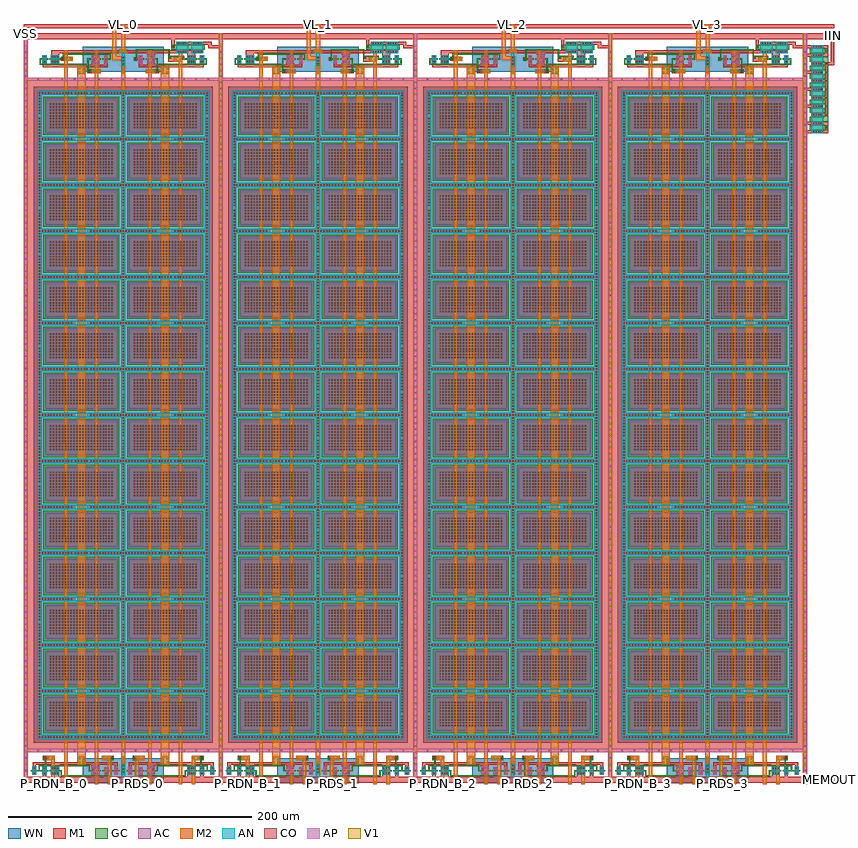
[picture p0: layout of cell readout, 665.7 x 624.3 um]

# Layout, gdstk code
from math import pi, radians
import gdstk
lib = gdstk.Library(unit=1e-6, precision=1e-07)
def R(c, l, rs):  # rectangles x0, y0, x1, y1
    for r in rs: c.add(gdstk.rectangle(r[:2], r[2:], *l))
def A(c, l, x, y, w, h, nx, ny, dx, dy):  # array of equal rectangles
    R(c, l, [(x+i*dx, y+j*dy, x+i*dx+w, y+j*dy+h) for i in range(nx) for j in range(ny)])
def P(c, l, *ps):  # polygons
    for p in ps: c.add(gdstk.Polygon(p, *l))
AP = (3, 1)
AN = (3, 2)
AC = (3, 4)
GC = (8, 1)
CO = (11, 0)
M1 = (13, 0)
V1 = (19, 0)
M2 = (20, 0)
WN = (140, 0)

cont_p = lib.new_cell('cont_p')
R(cont_p, AP, [(-1.3,-1.3,1.3,1.3)])
R(cont_p, CO, [(-0.5,-0.5,0.5,0.5)])
R(cont_p, M1, [(-1.3,-1.3,1.3,1.3)])

moscap_1 = lib.new_cell('moscap$1')
P(moscap_1, AN, [(-36.2,-20.7),(-36.2,17.1),(-32.6,17.1),(-32.6,-17.1),(32.6,-17.1),(32.6,17.1),(-36.2,17.1),(-36.2,20.7),(36.2,20.7),(36.2,-20.7)])
R(moscap_1, AC, [(-29.8,-14.3,29.8,14.3)])
R(moscap_1, GC, [(-31.2,-15.7,31.2,15.7)])
A(moscap_1, CO, -35, -19.5, 1.2, 1.2, 1, 8, 0, 2.4)
A(moscap_1, CO, -35, -19.5, 1.2, 1.2, 12, 2, 2.4, 37.8)
A(moscap_1, CO, 7.4, -19.5, 1.2, 1.2, 12, 2, 2.4, 37.8)
A(moscap_1, CO, 33.8, -19.5, 1.2, 1.2, 1, 8, 0, 2.4)
A(moscap_1, CO, -25.8, -10.2, 1.2, 1.2, 22, 9, 2.4, 2.4)
A(moscap_1, CO, -35, 1.5, 1.2, 1.2, 1, 8, 0, 2.4)
A(moscap_1, CO, 33.8, 1.5, 1.2, 1.2, 1, 8, 0, 2.4)
R(moscap_1, M1, [(-29.3,-13.3,29.3,13.3)])
P(moscap_1, M1, [(-36.2,-20.7),(-36.2,20.7),(-5,20.7),(-5,17.1),(-32.6,17.1),(-32.6,-17.1),(-5,-17.1),(-5,-20.7)],
  [(5,-20.7),(5,-17.1),(32.6,-17.1),(32.6,17.1),(5,17.1),(5,20.7),(36.2,20.7),(36.2,-20.7)])
R(moscap_1, WN, [(-39.2,-23.7,39.2,23.7)])

fet_n_1 = lib.new_cell('fet_n$1')
R(fet_n_1, AN, [(-3.3,-3.4,3.3,3.4)])
A(fet_n_1, CO, -2.5, -2.5, 1, 1, 1, 3, 0, 2)
A(fet_n_1, CO, 1.5, -2.5, 1, 1, 1, 3, 0, 2)
R(fet_n_1, M1, [(-3.3,-3.3,-0.7,3.3), (0.7,-3.3,3.3,3.3)])
fet_n_1.add(gdstk.FlexPath([(0,-4.6),(0,4.6)], 1, ends="flush", simple_path=True, layer=8, datatype=1))  # GC

fet_p = lib.new_cell('fet_p')
R(fet_p, AP, [(-3.3,-1.7,3.3,1.7)])
R(fet_p, CO, [(-2.5,-0.5,-1.5,0.5), (1.5,-0.5,2.5,0.5)])
R(fet_p, M1, [(-3.3,-1.3,-0.7,1.3), (0.7,-1.3,3.3,1.3)])
fet_p.add(gdstk.FlexPath([(0,-2.9),(0,2.9)], 1, ends="flush", simple_path=True, layer=8, datatype=1))  # GC

cont_n = lib.new_cell('cont_n')
R(cont_n, AN, [(-1.3,-1.3,1.3,1.3)])
R(cont_n, CO, [(-0.5,-0.5,0.5,0.5)])
R(cont_n, M1, [(-1.3,-1.3,1.3,1.3)])

fet_n = lib.new_cell('fet_n')
R(fet_n, AN, [(-3.3,-1.7,3.3,1.7)])
R(fet_n, CO, [(-2.5,-0.5,-1.5,0.5), (1.5,-0.5,2.5,0.5)])
R(fet_n, M1, [(-3.3,-1.3,-0.7,1.3), (0.7,-1.3,3.3,1.3)])
fet_n.add(gdstk.FlexPath([(0,-2.9),(0,2.9)], 1, ends="flush", simple_path=True, layer=8, datatype=1))  # GC

fet_p_1 = lib.new_cell('fet_p$1')
R(fet_p_1, AP, [(-3.3,-3.4,3.3,3.4)])
A(fet_p_1, CO, -2.5, -2.5, 1, 1, 1, 3, 0, 2)
A(fet_p_1, CO, 1.5, -2.5, 1, 1, 1, 3, 0, 2)
R(fet_p_1, M1, [(-3.3,-3.3,-0.7,3.3), (0.7,-3.3,3.3,3.3)])
fet_p_1.add(gdstk.FlexPath([(0,-4.6),(0,4.6)], 1, ends="flush", simple_path=True, layer=8, datatype=1))  # GC

cont_g = lib.new_cell('cont_g')
R(cont_g, GC, [(-1.3,-1.3,1.3,1.3)])
R(cont_g, CO, [(-0.5,-0.5,0.5,0.5)])
R(cont_g, M1, [(-1.3,-1.3,1.3,1.3)])

via_1 = lib.new_cell('via_1')
R(via_1, M1, [(-1.7,-1.7,1.7,1.7)])
R(via_1, V1, [(-0.7,-0.7,0.7,0.7)])
R(via_1, M2, [(-1.7,-1.7,1.7,1.7)])

fet_n_3 = lib.new_cell('fet_n$3')
R(fet_n_3, AN, [(-4.8,-5,4.8,5)])
A(fet_n_3, CO, -4, -3.5, 1, 1, 1, 4, 0, 2)
A(fet_n_3, CO, 3, -3.5, 1, 1, 1, 4, 0, 2)
R(fet_n_3, M1, [(-4.8,-4.3,-2.2,4.3), (2.2,-4.3,4.8,4.3)])
fet_n_3.add(gdstk.FlexPath([(0,-6.2),(0,6.2)], 4, ends="flush", simple_path=True, layer=8, datatype=1))  # GC

diode_n = lib.new_cell('diode_n')
R(diode_n, AN, [(-1.8,-1.8,1.8,1.8)])
R(diode_n, CO, [(-0.6,-0.6,0.6,0.6)])
R(diode_n, M1, [(-1.8,-1.8,1.8,1.8)])

readout_unit = lib.new_cell('readout_unit')
R(readout_unit, AP, [(-81.3,-616.9,-78.7,0), (78.7,-616.9,81.3,0), (-78.7,-590.7,78.7,-588.1), (-78.7,-39.3,78.7,-36.7)])
R(readout_unit, AN, [(-1.3,-611.3,1.3,-600.7), (-1.3,-26.7,1.3,-16.1)])
R(readout_unit, GC, [(39.6,-13.8,42.2,-9.8)])
P(readout_unit, GC, [(-29.5,-29.7),(-29.5,-26.1),(-68.6,-26.1),(-68.6,-20.9),(-67.6,-20.9),(-67.6,-25.1),(-29.5,-25.1),(-29.5,-20.9),(-27.5,-20.9),(-27.5,-21.9),(-28.5,-21.9),(-28.5,-29.7)],
  [(27.5,-29.7),(27.5,-20.9),(28.5,-20.9),(28.5,-25.2),(67.6,-25.2),(67.6,-20.9),(68.6,-20.9),(68.6,-26.2),(28.5,-26.2),(28.5,-29.7)],
  [(9.5,-610.7),(9.5,-606.5),(8.7,-606.5),(8.7,-605.5),(9.5,-605.5),(9.5,-597.2),(10.5,-597.2),(10.5,-605.5),(11.3,-605.5),(11.3,-606.5),(10.5,-606.5),(10.5,-609.7),(50.4,-609.7),(50.4,-605.5),(51.4,-605.5),(51.4,-610.7)],
  [(27.5,-606.5),(27.5,-601.3),(63.4,-601.3),(63.4,-597.2),(64.4,-597.2),(64.4,-601.3),(69.4,-601.3),(69.4,-605.5),(70.2,-605.5),(70.2,-606.5),(67.6,-606.5),(67.6,-605.5),(68.4,-605.5),(68.4,-602.3),(28.5,-602.3),(28.5,-606.5)],
  [(-51.4,-610.7),(-51.4,-605.5),(-50.4,-605.5),(-50.4,-609.7),(-10.5,-609.7),(-10.5,-606.5),(-11.3,-606.5),(-11.3,-605.5),(-10.5,-605.5),(-10.5,-597.2),(-9.5,-597.2),(-9.5,-605.5),(-8.7,-605.5),(-8.7,-606.5),(-9.5,-606.5),(-9.5,-610.7)],
  [(-70.2,-606.5),(-70.2,-605.5),(-69.4,-605.5),(-69.4,-601.3),(-64.4,-601.3),(-64.4,-597.2),(-63.4,-597.2),(-63.4,-601.3),(-27.5,-601.3),(-27.5,-606.5),(-28.5,-606.5),(-28.5,-602.3),(-68.4,-602.3),(-68.4,-605.5),(-67.6,-605.5),(-67.6,-606.5)],
  [(-51.4,-21.9),(-51.4,-20.9),(-49.6,-20.9),(-49.6,-16.7),(-10.3,-16.7),(-10.3,-21.9),(-11.3,-21.9),(-11.3,-17.7),(-48.6,-17.7),(-48.6,-21.9)],
  [(10.3,-21.9),(10.3,-13.3),(38,-13.3),(38,-18.5),(50,-18.5),(50,-20.9),(51.4,-20.9),(51.4,-21.9),(49,-21.9),(49,-19.5),(37,-19.5),(37,-14.3),(11.3,-14.3),(11.3,-21.9)])
A(readout_unit, M1, -37.8, -546.1, 6.8, 11.2, 1, 7, 0, 75.6)
A(readout_unit, M1, 31, -546.1, 6.8, 11.2, 1, 7, 0, 75.6)
R(readout_unit, M1, [(-1.8,-609.3,1.8,-593.9), (-81.7,-606.9,-78.3,-9.9), (78.3,-606.9,81.7,-9.9), (-66,-597.2,-63,-593.8), (-11,-597.2,-7.9,-593.8), (7.9,-597.2,11,-593.8), (63,-597.2,66,-593.8), (-78.3,-590.7,78.3,-576.5), (-78.3,-580.1,-70.6,-47.3), (70.6,-580.1,78.3,-47.3), (-78.3,-50.9,78.3,-36.7), (-1.8,-33.5,1.8,-18.9), (-29.5,-33.1,-25.3,-29.7), (25.3,-33.1,29.5,-29.7), (37,-23.5,48.4,-18.5), (-51.2,-22.7,-48.2,-19.3)])
P(readout_unit, M1, [(-81.7,-615.8),(-81.7,-610.8),(-66,-610.8),(-66,-605.3),(-63.4,-605.3),(-63.4,-610.8),(-59.3,-610.8),(-59.3,-609.3),(-52.7,-609.3),(-52.7,-610.8),(-26.2,-610.8),(-26.2,-609.3),(-19.6,-609.3),(-19.6,-610.8),(-15.5,-610.8),(-15.5,-605.3),(-12.9,-605.3),(-12.9,-610.8),(12.9,-610.8),(12.9,-605.3),(15.5,-605.3),(15.5,-610.8),(19.6,-610.8),(19.6,-609.3),(26.2,-609.3),(26.2,-610.8),(52.7,-610.8),(52.7,-609.3),(59.3,-609.3),(59.3,-610.8),(63.4,-610.8),(63.4,-605.3),(66,-605.3),(66,-610.8),(81.7,-610.8),(81.7,-615.8)],
  [(-74.4,-606.7),(-74.4,-599.2),(-4.5,-599.2),(-4.5,-606.7),(-7.1,-606.7),(-7.1,-601.2),(-19.6,-601.2),(-19.6,-602.7),(-26.2,-602.7),(-26.2,-601.2),(-52.7,-601.2),(-52.7,-602.7),(-59.3,-602.7),(-59.3,-601.2),(-71.8,-601.2),(-71.8,-606.7)],
  [(4.5,-606.7),(4.5,-599.2),(74.4,-599.2),(74.4,-606.7),(71.8,-606.7),(71.8,-601.2),(59.3,-601.2),(59.3,-602.7),(52.7,-602.7),(52.7,-601.2),(26.2,-601.2),(26.2,-602.7),(19.6,-602.7),(19.6,-601.2),(7.1,-601.2),(7.1,-606.7)],
  [(69.9,-12.5),(69.9,-9.6),(52.7,-9.6),(52.7,-7),(72.5,-7),(72.5,-9.9),(78.3,-9.9),(78.3,-12.5)],
  [(-66,-28.2),(-66,-20.7),(-63.4,-20.7),(-63.4,-26.2),(-59.3,-26.2),(-59.3,-24.7),(-52.7,-24.7),(-52.7,-26.2),(-26.2,-26.2),(-26.2,-24.7),(-19.6,-24.7),(-19.6,-26.2),(-15.5,-26.2),(-15.5,-20.7),(-12.9,-20.7),(-12.9,-28.2)],
  [(12.9,-28.2),(12.9,-20.7),(15.5,-20.7),(15.5,-26.2),(19.6,-26.2),(19.6,-24.7),(26.2,-24.7),(26.2,-26.2),(52.7,-26.2),(52.7,-24.7),(59.3,-24.7),(59.3,-26.2),(63.4,-26.2),(63.4,-20.7),(66,-20.7),(66,-28.2)],
  [(-59.3,-18.1),(-59.3,-14),(59.3,-14),(59.3,-18.1),(52.7,-18.1),(52.7,-16.6),(26.2,-16.6),(26.2,-18.1),(19.6,-18.1),(19.6,-16.6),(-19.6,-16.6),(-19.6,-18.1),(-26.2,-18.1),(-26.2,-16.6),(-52.7,-16.6),(-52.7,-18.1)],
  [(39.6,-9.8),(39.6,-5),(-81.7,-5),(-81.7,0),(81.7,0),(81.7,-5),(42.2,-5),(42.2,-9.8)])
R(readout_unit, M2, [(-81.7,-616.9,-78.3,0), (-59.2,-616.9,-56.2,-597.2), (-48.4,-616.9,-45.4,-14), (-23.4,-616.9,-20.4,-14), (-12.6,-616.9,-9.6,-593.8), (9.6,-616.9,12.6,-593.8), (20.4,-616.9,23.4,-14), (45.4,-616.9,48.4,-14), (56.2,-616.9,59.2,-593.8), (78.3,-616.9,81.7,0), (-1.8,-609.3,1.8,-18.9), (-37.8,-599.2,-31,-28.2), (31,-599.2,37.8,-28.2), (-1.7,-16.6,1.7,0)])
R(readout_unit, WN, [(-33.4,-616.3,33.4,-595.7), (-33.4,-31.7,33.4,-11.1)])
r = gdstk.Reference(cont_p, (-80,-605.6)); r.repetition = gdstk.Repetition(1, 60, v1=(0,0), v2=(0,10)); readout_unit.add(r)
r = gdstk.Reference(cont_p, (80,-605.6)); r.repetition = gdstk.Repetition(1, 60, v1=(0,0), v2=(0,10)); readout_unit.add(r)
r = gdstk.Reference(moscap_1, (-34.4,-559.4)); r.repetition = gdstk.Repetition(2, 14, v1=(68.8,0), v2=(0,37.8)); readout_unit.add(r)
readout_unit.add(gdstk.Reference(fet_n_1, (-56,-606), rotation=3*pi/2))
readout_unit.add(gdstk.Reference(fet_p, (-5.8,-606), rotation=3*pi/2))
r = gdstk.Reference(cont_n, (0,-607.2)); r.repetition = gdstk.Repetition(1, 3, v1=(0,0), v2=(0,2.6)); readout_unit.add(r)
readout_unit.add(gdstk.Reference(fet_n, (-73.1,-606), rotation=3*pi/2))
readout_unit.add(gdstk.Reference(fet_p_1, (-22.9,-606), rotation=3*pi/2))
readout_unit.add(gdstk.Reference(fet_n, (-64.7,-606), rotation=3*pi/2))
readout_unit.add(gdstk.Reference(fet_p, (-14.2,-606), rotation=3*pi/2))
readout_unit.add(gdstk.Reference(fet_p, (5.8,-606), rotation=3*pi/2))
readout_unit.add(gdstk.Reference(fet_p, (14.2,-606), rotation=3*pi/2))
readout_unit.add(gdstk.Reference(fet_p_1, (22.9,-606), rotation=3*pi/2))
readout_unit.add(gdstk.Reference(fet_n_1, (56,-606), rotation=3*pi/2))
readout_unit.add(gdstk.Reference(fet_n, (64.7,-606), rotation=3*pi/2))
readout_unit.add(gdstk.Reference(fet_n, (73.1,-606), rotation=3*pi/2))
readout_unit.add(gdstk.Reference(cont_g, (9.2,-595.9)))
readout_unit.add(gdstk.Reference(cont_g, (64.7,-595.9)))
r = gdstk.Reference(via_1, (57.9,-595.5)); r.repetition = gdstk.Repetition(2, 1, v1=(3.4,0), v2=(0,0)); readout_unit.add(r)
readout_unit.add(gdstk.Reference(fet_n_3, (48.4,-11.8), rotation=3*pi/2))
readout_unit.add(gdstk.Reference(fet_n_3, (60.8,-11.8), rotation=3*pi/2))
readout_unit.add(gdstk.Reference(fet_n_1, (-56,-21.4), rotation=3*pi/2))
readout_unit.add(gdstk.Reference(cont_g, (40.9,-11.1)))
r = gdstk.Reference(cont_n, (0,-25.4)); r.repetition = gdstk.Repetition(1, 3, v1=(0,0), v2=(0,2.6)); readout_unit.add(r)
r = gdstk.Reference(via_1, (-46.5,-21)); r.repetition = gdstk.Repetition(2, 1, v1=(3.4,0), v2=(0,0)); readout_unit.add(r)
readout_unit.add(gdstk.Reference(fet_p_1, (-22.9,-21.4), rotation=3*pi/2))
readout_unit.add(gdstk.Reference(fet_n, (-64.7,-21.4), rotation=3*pi/2))
readout_unit.add(gdstk.Reference(fet_p, (-14.2,-21.4), rotation=3*pi/2))
readout_unit.add(gdstk.Reference(cont_g, (-28.2,-31)))
r = gdstk.Reference(via_1, (12.7,-595.5)); r.repetition = gdstk.Repetition(2, 1, v1=(3.4,0), v2=(0,0)); readout_unit.add(r)
readout_unit.add(gdstk.Reference(fet_p, (14.2,-21.4), rotation=3*pi/2))
r = gdstk.Reference(via_1, (20.2,-31.4)); r.repetition = gdstk.Repetition(2, 1, v1=(3.4,0), v2=(0,0)); readout_unit.add(r)
readout_unit.add(gdstk.Reference(fet_p_1, (22.9,-21.4), rotation=3*pi/2))
readout_unit.add(gdstk.Reference(fet_n_1, (56,-21.4), rotation=3*pi/2))
readout_unit.add(gdstk.Reference(fet_n, (64.7,-21.4), rotation=3*pi/2))
readout_unit.add(gdstk.Reference(cont_g, (10,-21.4)))
readout_unit.add(gdstk.Reference(cont_g, (38.3,-19.8)))
readout_unit.add(gdstk.Reference(cont_g, (28.2,-31)))
r = gdstk.Reference(via_1, (43.3,-21.8)); r.repetition = gdstk.Repetition(2, 1, v1=(3.4,0), v2=(0,0)); readout_unit.add(r)
r = gdstk.Reference(via_1, (-61.3,-595.5)); r.repetition = gdstk.Repetition(2, 1, v1=(3.4,0), v2=(0,0)); readout_unit.add(r)
r = gdstk.Reference(via_1, (-16.1,-595.5)); r.repetition = gdstk.Repetition(2, 1, v1=(3.4,0), v2=(0,0)); readout_unit.add(r)
readout_unit.add(gdstk.Reference(cont_g, (-9.2,-595.9)))
readout_unit.add(gdstk.Reference(cont_g, (-64.7,-595.9)))
r = gdstk.Reference(via_1, (-23.6,-31.4)); r.repetition = gdstk.Repetition(2, 1, v1=(3.4,0), v2=(0,0)); readout_unit.add(r)
readout_unit.add(gdstk.Reference(cont_g, (-49.9,-20.6)))
r = gdstk.Reference(via_1, (0,-31.8)); r.repetition = gdstk.Repetition(1, 2, v1=(0,0), v2=(0,3.4)); readout_unit.add(r)
r = gdstk.Reference(via_1, (-1.7,-14.9)); r.repetition = gdstk.Repetition(2, 1, v1=(3.4,0), v2=(0,0)); readout_unit.add(r)
r = gdstk.Reference(cont_p, (-70,-589.4)); r.repetition = gdstk.Repetition(15, 1, v1=(10,0), v2=(0,0)); readout_unit.add(r)
r = gdstk.Reference(cont_p, (-70,-38)); r.repetition = gdstk.Repetition(15, 1, v1=(10,0), v2=(0,0)); readout_unit.add(r)
r = gdstk.Reference(diode_n, (-39.2,-578.3)); r.repetition = gdstk.Repetition(5, 8, v1=(2.4,0), v2=(0,75.6)); readout_unit.add(r)
r = gdstk.Reference(via_1, (0,-599)); r.repetition = gdstk.Repetition(1, 2, v1=(0,0), v2=(0,3.4)); readout_unit.add(r)
r = gdstk.Reference(diode_n, (29.6,-578.3)); r.repetition = gdstk.Repetition(5, 8, v1=(2.4,0), v2=(0,75.6)); readout_unit.add(r)
r = gdstk.Reference(via_1, (-80,-600.6)); r.repetition = gdstk.Repetition(2, 59, v1=(160,0), v2=(0,10)); readout_unit.add(r)
r = gdstk.Reference(via_1, (-36.1,-540.5)); r.repetition = gdstk.Repetition(2, 7, v1=(3.4,0), v2=(0,75.6)); readout_unit.add(r)
r = gdstk.Reference(via_1, (-36.1,-599.3)); r.repetition = gdstk.Repetition(2, 2, v1=(3.4,0), v2=(0,3.4)); readout_unit.add(r)
r = gdstk.Reference(via_1, (32.7,-540.5)); r.repetition = gdstk.Repetition(2, 7, v1=(3.4,0), v2=(0,75.6)); readout_unit.add(r)
r = gdstk.Reference(via_1, (32.7,-599.3)); r.repetition = gdstk.Repetition(2, 2, v1=(3.4,0), v2=(0,3.4)); readout_unit.add(r)
r = gdstk.Reference(via_1, (-36.1,-32.3)); r.repetition = gdstk.Repetition(2, 2, v1=(3.4,0), v2=(0,3.4)); readout_unit.add(r)
r = gdstk.Reference(via_1, (32.7,-32.3)); r.repetition = gdstk.Repetition(2, 2, v1=(3.4,0), v2=(0,3.4)); readout_unit.add(r)
readout_unit.add(gdstk.Label('P_WRTN', (-46.9,-616.5), layer=49, texttype=0))
readout_unit.add(gdstk.Label('P_WRTN_B', (-21.9,-616.5), layer=49, texttype=0))
readout_unit.add(gdstk.Label('P_WRTS', (46.9,-616.5), layer=49, texttype=0))
readout_unit.add(gdstk.Label('P_WRTS_B', (21.9,-616.5), layer=49, texttype=0))
readout_unit.add(gdstk.Label('P_RDN_B', (-57.7,-616.5), layer=49, texttype=0))
readout_unit.add(gdstk.Label('P_RDN', (-11.1,-616.5), layer=49, texttype=0))
readout_unit.add(gdstk.Label('P_RDS', (11.1,-616.5), layer=49, texttype=0))
readout_unit.add(gdstk.Label('P_RDS_B', (57.7,-616.5), layer=49, texttype=0))
readout_unit.add(gdstk.Label('VSS', (-80,-616.4), layer=49, texttype=0))
readout_unit.add(gdstk.Label('VDD', (0,-608.9), layer=49, texttype=0))
readout_unit.add(gdstk.Label('VL', (0,-0.5), layer=49, texttype=0))
readout_unit.add(gdstk.Label('MEMOUT', (81.3,-613.4), layer=48, texttype=0))
readout_unit.add(gdstk.Label('VBIAS', (81.3,-2.6), layer=48, texttype=0))

fet_n_2 = lib.new_cell('fet_n$2')
R(fet_n_2, AN, [(-36.3,-5,36.3,5)])
A(fet_n_2, CO, -35.5, -3.5, 1, 1, 11, 4, 7, 2)
A(fet_n_2, M1, -36.3, -4.3, 2.6, 8.6, 11, 1, 7, 0)
fet_n_2.add(gdstk.FlexPath([(3.5,-6.2),(3.5,6.2)], 4, ends="flush", simple_path=True, layer=8, datatype=1))  # GC
fet_n_2.add(gdstk.FlexPath([(-3.5,-6.2),(-3.5,6.2)], 4, ends="flush", simple_path=True, layer=8, datatype=1))  # GC
fet_n_2.add(gdstk.FlexPath([(10.5,-6.2),(10.5,6.2)], 4, ends="flush", simple_path=True, layer=8, datatype=1))  # GC
fet_n_2.add(gdstk.FlexPath([(-10.5,-6.2),(-10.5,6.2)], 4, ends="flush", simple_path=True, layer=8, datatype=1))  # GC
fet_n_2.add(gdstk.FlexPath([(17.5,-6.2),(17.5,6.2)], 4, ends="flush", simple_path=True, layer=8, datatype=1))  # GC
fet_n_2.add(gdstk.FlexPath([(-17.5,-6.2),(-17.5,6.2)], 4, ends="flush", simple_path=True, layer=8, datatype=1))  # GC
fet_n_2.add(gdstk.FlexPath([(24.5,-6.2),(24.5,6.2)], 4, ends="flush", simple_path=True, layer=8, datatype=1))  # GC
fet_n_2.add(gdstk.FlexPath([(-24.5,-6.2),(-24.5,6.2)], 4, ends="flush", simple_path=True, layer=8, datatype=1))  # GC
fet_n_2.add(gdstk.FlexPath([(31.5,-6.2),(31.5,6.2)], 4, ends="flush", simple_path=True, layer=8, datatype=1))  # GC
fet_n_2.add(gdstk.FlexPath([(-31.5,-6.2),(-31.5,6.2)], 4, ends="flush", simple_path=True, layer=8, datatype=1))  # GC

cont_g_1 = lib.new_cell('cont_g$1')
R(cont_g_1, GC, [(-1.3,-1.3,1.3,1.3)])
R(cont_g_1, CO, [(-0.5,-0.5,0.5,0.5)])
R(cont_g_1, M1, [(-1.3,-1.3,1.3,1.3)])

via_1_1 = lib.new_cell('via_1$1')
R(via_1_1, M1, [(-1.7,-1.7,1.7,1.7)])
R(via_1_1, V1, [(-0.7,-0.7,0.7,0.7)])
R(via_1_1, M2, [(-1.7,-1.7,1.7,1.7)])

readout = lib.new_cell('readout')
R(readout, GC, [(336.4,-79.7,339,-75.7), (336.4,-72.7,339,-19.7), (336.4,-16.7,339,-12.7)])
A(readout, M1, 321.7, -61.5, 4.2, 2.6, 1, 3, 0, 14)
R(readout, M1, [(321.7,-615.8,344,-610.8), (-321.7,4,344,7.4)])
P(readout, M1, [(334.5,-68.5),(334.5,-65.9),(336.4,-65.9),(336.4,-54.5),(334.5,-54.5),(334.5,-51.9),(336.4,-51.9),(336.4,-40.5),(334.5,-40.5),(334.5,-37.9),(336.4,-37.9),(336.4,-26.5),(334.5,-26.5),(334.5,-23.9),(341,-23.9),(341,-5),(321.7,-5),(321.7,0),(344,0),(344,-26.5),(339,-26.5),(339,-68.5)],
  [(321.7,-82.5),(321.7,-79.9),(336.4,-79.9),(336.4,-75.5),(321.7,-75.5),(321.7,-72.9),(339,-72.9),(339,-82.5)],
  [(321.7,-19.5),(321.7,-16.9),(336.4,-16.9),(336.4,-12.5),(321.7,-12.5),(321.7,-9.9),(339,-9.9),(339,-19.5)])
A(readout, M2, -241.7, 0, 3.4, 7.4, 4, 1, 160, 0)
P(readout, M2, [(-249.2,-22.3),(-249.2,7.4),(-245.8,7.4),(-245.8,-18.9),(-241.8,-18.9),(-241.8,-22.3)],
  [(-89.2,-22.3),(-89.2,7.4),(-85.8,7.4),(-85.8,-18.9),(-81.8,-18.9),(-81.8,-22.3)],
  [(70.8,-22.3),(70.8,7.4),(74.2,7.4),(74.2,-18.9),(78.2,-18.9),(78.2,-22.3)],
  [(230.8,-22.3),(230.8,7.4),(234.2,7.4),(234.2,-18.9),(238.2,-18.9),(238.2,-22.3)])
r = gdstk.Reference(readout_unit, (-240,0)); r.repetition = gdstk.Repetition(4, 1, v1=(160,0), v2=(0,0)); readout.add(r)
readout.add(gdstk.Reference(fet_n_2, (330.2,-46.2), rotation=pi/2))
r = gdstk.Reference(cont_g_1, (337.7,-67.2)); r.repetition = gdstk.Repetition(1, 7, v1=(0,0), v2=(0,7)); readout.add(r)
readout.add(gdstk.Reference(cont_g_1, (337.7,-77.7)))
readout.add(gdstk.Reference(cont_g_1, (337.7,-14.7)))
r = gdstk.Reference(via_1_1, (-250.9,5.7)); r.repetition = gdstk.Repetition(2, 1, v1=(3.4,0), v2=(0,0)); readout.add(r)
r = gdstk.Reference(via_1_1, (-90.9,5.7)); r.repetition = gdstk.Repetition(2, 1, v1=(3.4,0), v2=(0,0)); readout.add(r)
r = gdstk.Reference(via_1_1, (69.1,5.7)); r.repetition = gdstk.Repetition(2, 1, v1=(3.4,0), v2=(0,0)); readout.add(r)
r = gdstk.Reference(via_1_1, (229.1,5.7)); r.repetition = gdstk.Repetition(2, 1, v1=(3.4,0), v2=(0,0)); readout.add(r)
readout.add(gdstk.Label('P_RDN_B_0', (-296.8,-616.5), layer=49, texttype=0))
readout.add(gdstk.Label('P_WRTN_0', (-286,-616.5), layer=49, texttype=0))
readout.add(gdstk.Label('P_WRTN_B_0', (-261,-616.5), layer=49, texttype=0))
readout.add(gdstk.Label('P_RDN_0', (-250.2,-616.5), layer=49, texttype=0))
readout.add(gdstk.Label('P_RDS_0', (-228,-616.5), layer=49, texttype=0))
readout.add(gdstk.Label('P_WRTS_0', (-192.2,-616.5), layer=49, texttype=0))
readout.add(gdstk.Label('P_WRTS_B_0', (-217.2,-616.5), layer=49, texttype=0))
readout.add(gdstk.Label('P_RDS_B_0', (-181.4,-616.5), layer=49, texttype=0))
readout.add(gdstk.Label('P_RDN_B_1', (-136.8,-616.5), layer=49, texttype=0))
readout.add(gdstk.Label('P_WRTN_1', (-126,-616.5), layer=49, texttype=0))
readout.add(gdstk.Label('P_WRTN_B_1', (-101,-616.5), layer=49, texttype=0))
readout.add(gdstk.Label('P_RDN_1', (-90.2,-616.5), layer=49, texttype=0))
readout.add(gdstk.Label('P_RDS_1', (-68,-616.5), layer=49, texttype=0))
readout.add(gdstk.Label('P_WRTS_1', (-32.2,-616.5), layer=49, texttype=0))
readout.add(gdstk.Label('P_WRTS_B_1', (-57.2,-616.5), layer=49, texttype=0))
readout.add(gdstk.Label('P_RDS_B_1', (-21.4,-616.5), layer=49, texttype=0))
readout.add(gdstk.Label('P_RDN_B_2', (23.2,-616.5), layer=49, texttype=0))
readout.add(gdstk.Label('P_WRTN_2', (34,-616.5), layer=49, texttype=0))
readout.add(gdstk.Label('P_WRTN_B_2', (59,-616.5), layer=49, texttype=0))
readout.add(gdstk.Label('P_RDN_2', (69.8,-616.5), layer=49, texttype=0))
readout.add(gdstk.Label('P_RDS_2', (92,-616.5), layer=49, texttype=0))
readout.add(gdstk.Label('P_WRTS_2', (127.8,-616.5), layer=49, texttype=0))
readout.add(gdstk.Label('P_WRTS_B_2', (102.8,-616.5), layer=49, texttype=0))
readout.add(gdstk.Label('P_RDS_B_2', (138.6,-616.5), layer=49, texttype=0))
readout.add(gdstk.Label('P_RDN_B_3', (183.2,-616.5), layer=49, texttype=0))
readout.add(gdstk.Label('P_WRTN_3', (194,-616.5), layer=49, texttype=0))
readout.add(gdstk.Label('P_WRTN_B_3', (219,-616.5), layer=49, texttype=0))
readout.add(gdstk.Label('P_RDN_3', (229.8,-616.5), layer=49, texttype=0))
readout.add(gdstk.Label('P_RDS_3', (252,-616.5), layer=49, texttype=0))
readout.add(gdstk.Label('P_WRTS_3', (287.8,-616.5), layer=49, texttype=0))
readout.add(gdstk.Label('P_WRTS_B_3', (262.8,-616.5), layer=49, texttype=0))
readout.add(gdstk.Label('P_RDS_B_3', (298.6,-616.5), layer=49, texttype=0))
readout.add(gdstk.Label('VL_0', (-240,7), layer=49, texttype=0))
readout.add(gdstk.Label('VL_1', (-80,7), layer=49, texttype=0))
readout.add(gdstk.Label('VL_2', (80,7), layer=49, texttype=0))
readout.add(gdstk.Label('VL_3', (240,7), layer=49, texttype=0))
readout.add(gdstk.Label('VSS', (-320,-0.5), layer=49, texttype=0))
readout.add(gdstk.Label('MEMOUT', (343.5,-613.2), layer=48, texttype=0))
readout.add(gdstk.Label('IIN', (343.5,-2.4), layer=48, texttype=0))
readout.add(gdstk.Label('VDD', (-321.5,7), layer=48, texttype=0))

lib.write_gds('readout.gds')
